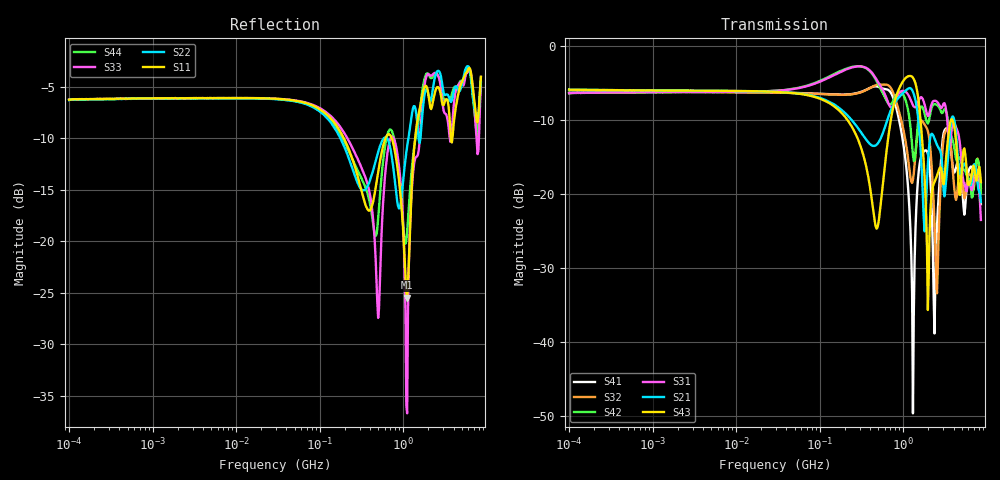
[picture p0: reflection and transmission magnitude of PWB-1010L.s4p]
# MHz S MA R 50
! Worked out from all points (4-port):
!   498 points, 100 kHz to 8.5 GHz, reference 50 ohm
!   strongest paths, dB at 100 kHz, 1.698 MHz, 29.49 MHz, 500.7 MHz, 8.5 GHz:
!     S43: -5.8, -6.0, -6.1, -24.1, -18.4
!     S21: -5.8, -6.0, -6.1, -13.1, -21.1
!     S31: -6.3, -6.2, -6.0, -4.8, -23.5
!     S42: -6.3, -6.2, -6.0, -5.1, -19.8
!     S32: -6.3, -6.2, -6.3, -5.2, -19.1
!     S41: -6.3, -6.2, -6.2, -5.5, -21.3
!   lowest |S11| = -25.4 dB at 1.113 GHz (marker M1), VSWR 1.11, Z = 49.4 - j5.27 ohm
!   |S11| at or under -10 dB: 194.6 MHz to 613.7 MHz (419 MHz wide, 104 % of centre); 727.9 MHz to 1.388 GHz (660.1 MHz wide, 62.4 % of centre); 3.719 GHz to 3.875 GHz (155.4 MHz wide, 4.09 % of centre)
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0.1  0.4862 2.5  0.5103 -2.6  0.4834 2.8  0.4823 -177.3
     0.5103 -2.6  0.4847 2.8  0.4846 -177.7  0.4863 2.3
     0.4834 2.8  0.4846 -177.7  0.4874 2.1  0.5104 -2.5
     0.4823 -177.3  0.4863 2.3  0.5104 -2.5  0.4852 2.5
478.3074  0.1925 -25.1  0.2157 167.0  0.597 -69.5  0.5359 -8.9
          0.2157 167.0  0.2533 -25.8  0.5479 -6.6  0.5836 -76.6
          0.597 -69.5  0.5479 -6.6  0.06443 -85.6  0.05851 173.8
          0.5359 -8.9  0.5836 -76.6  0.05851 173.8  0.108 -26.1
1113.489  0.05341 -94.0  0.511 -72.5  0.4818 -120.4  0.1326 177.2
          0.511 -72.5  0.2886 -71.8  0.195 157.7  0.3961 -149.3
          0.4818 -120.4  0.195 157.7  0.01465 -17.0  0.6227 -73.3
          0.1326 177.2  0.3961 -149.3  0.6227 -73.3  0.1113 -74.8
1306.515  0.233 -61.7  0.4928 -128.8  0.4003 -138.7  0.003305 149.5
          0.4928 -128.8  0.4407 -99.7  0.1252 45.6  0.1854 -160.9
          0.4003 -138.7  0.1252 45.6  0.2119 -62.8  0.6137 -127.9
          0.003305 149.5  0.1854 -160.9  0.6137 -127.9  0.2555 -73.4
1970.81  0.534 -146.3  0.16 -87.5  0.3377 164.3  0.1881 156.2
         0.16 -87.5  0.53 -142.2  0.2672 148.8  0.3007 162.5
         0.3377 164.3  0.2672 148.8  0.6477 -126.6  0.0165 11.0
         0.1881 156.2  0.3007 162.5  0.0165 11.0  0.651 -136.0
6920.76  0.5232 -160.6  0.1567 104.0  0.122 71.2  0.132 80.0
         0.1567 104.0  0.48 -174.0  0.1068 96.4  0.1131 32.4
         0.122 71.2  0.1068 96.4  0.5128 -169.4  0.1561 107.3
         0.132 80.0  0.1131 32.4  0.1561 107.3  0.4718 -160.8
8500  0.6284 -32.7  0.08843 -85.6  0.06706 -86.7  0.08565 -98.7
      0.08843 -85.6  0.5904 -40.6  0.1103 -90.6  0.1021 -179.3
      0.06706 -86.7  0.1103 -90.6  0.561 -36.0  0.1208 -72.3
      0.08565 -98.7  0.1021 -179.3  0.1208 -72.3  0.6242 -31.6
